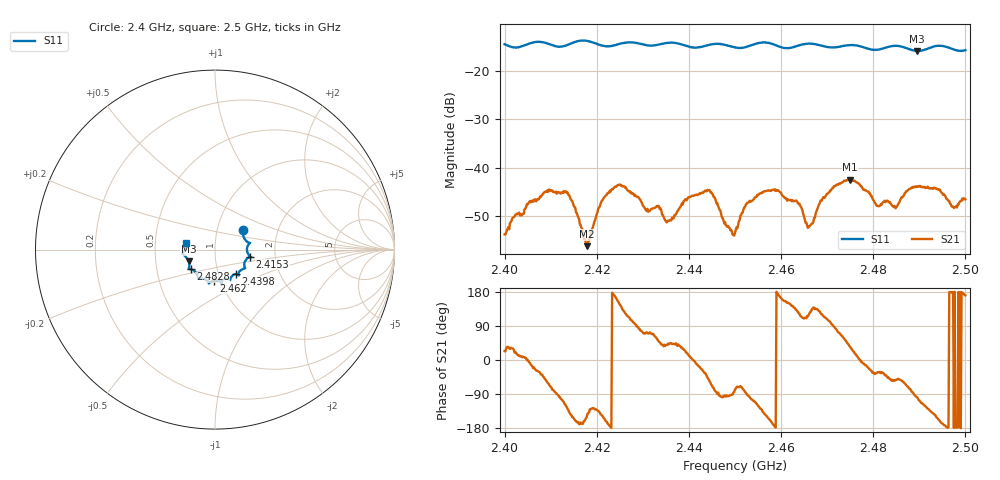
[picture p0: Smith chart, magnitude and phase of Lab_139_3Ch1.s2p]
# Hz S RI R 50
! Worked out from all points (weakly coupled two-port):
!   601 points, 2.4 GHz to 2.5 GHz, reference 50 ohm
!   highest |S21| = -42.53 dB at 2.475 GHz (marker M1); lowest = -56.3 dB at 2.4178 GHz (marker M2)
!   lowest |S11| = -15.9 dB at 2.4895 GHz (marker M3), VSWR 1.38, Z = 37 - j5 ohm
!   |S11| at or under -10 dB: start of sweep to end of sweep
!   S12 and S22 are empty: the file has one direction only
!   S11 on the Smith chart (normalised r, x): 2.4 GHz: 1.33, +0.29; 2.4153 GHz: 1.48, -0.12; 2.4398 GHz: 1.21, -0.34; 2.462 GHz: 0.93, -0.33; 2.4828 GHz: 0.74, -0.17; 2.5 GHz: 0.72, +0.06
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2.4e9  0.1557 0.1067  0.00187 0.000805  0 0  0 0
2.409167e9  0.1904 0.0327  0.00302 -0.00469  0 0  0 0
2.413333e9  0.1824 -0.0193  -0.00297 -0.00484  0 0  0 0
2.415333e9  0.196 -0.0385  -0.00362 -0.00131  0 0  0 0
2.416667e9  0.2019 -0.0425  -0.00231 -0.000514  0 0  0 0
2.417833e9  0.2004 -0.0418  -0.00133 -0.000775  0 0  0 0
2.421333e9  0.1726 -0.0565  -0.00398 -0.00243  0 0  0 0
2.4245e9  0.1638 -0.0921  -0.00603 0.0026  0 0  0 0
2.433333e9  0.1306 -0.1335  0.00254 0.00311  0 0  0 0
2.435667e9  0.1319 -0.1447  0.00209 0.00186  0 0  0 0
2.439833e9  0.1157 -0.1362  0.00476 0.00123  0 0  0 0
2.4445e9  0.0849 -0.1662  0.00321 -0.00486  0 0  0 0
2.45e9  0.0648 -0.1626  0.00044 -0.00206  0 0  0 0
2.455333e9  0.0367 -0.1916  -0.00312 -0.00439  0 0  0 0
2.462e9  -0.00498 -0.173  -0.00392 0.00249  0 0  0 0
2.466667e9  -0.0343 -0.1881  -0.00182 0.0019  0 0  0 0
2.469e9  -0.04 -0.1768  -0.00226 0.00419  0 0  0 0
2.475e9  -0.0924 -0.1603  0.00616 0.00423  0 0  0 0
2.482833e9  -0.1363 -0.1095  0.0034 -0.00294  0 0  0 0
2.483333e9  -0.1401 -0.1092  0.00305 -0.00316  0 0  0 0
2.4895e9  -0.1462 -0.066  -0.000905 -0.00622  0 0  0 0
2.5e9  -0.1594 0.0389  -0.00461 0.000764  0 0  0 0
